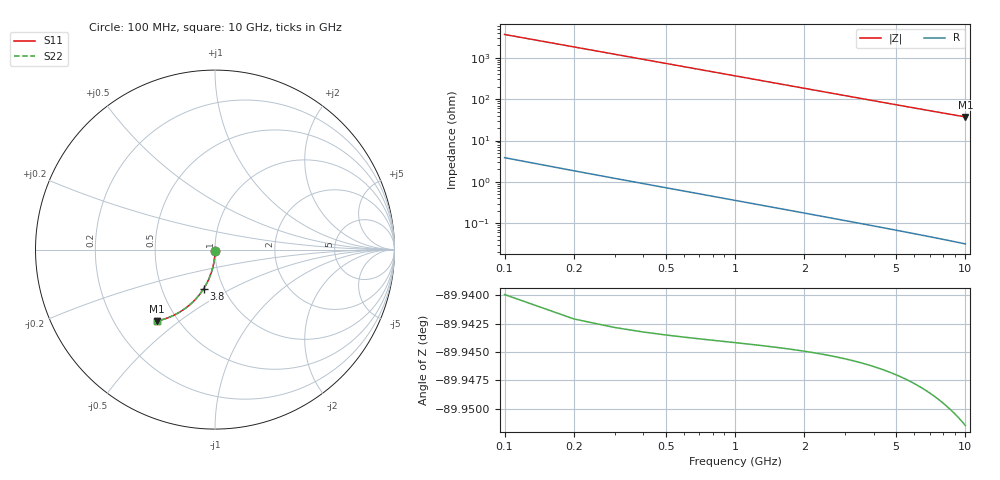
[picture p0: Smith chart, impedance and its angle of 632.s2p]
# Hz S RI R 50.00
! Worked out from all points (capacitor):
!   100 points, 100 MHz to 10 GHz, reference 50 ohm
!   read as one part in shunt: C = 433 fF near 100 MHz
!   lowest |Z| = 37.3 ohm at 10 GHz (marker M1)
!   S11 on the Smith chart (normalised r, x): 100 MHz: 1.00, -0.01; 3.8 GHz: 0.81, -0.37; 10 GHz: 0.38, -0.42
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1e8  0.000129 -0.00611  0.9998 -0.00751  0.9998 -0.00751  0.000129 -0.00611
2e8  -1.39e-05 -0.0122  0.9996 -0.015  0.9996 -0.015  -1.39e-05 -0.0122
3e8  -0.000249 -0.0183  0.9994 -0.0225  0.9994 -0.0225  -0.000249 -0.0183
4e8  -0.000576 -0.0244  0.999 -0.03  0.999 -0.03  -0.000576 -0.0244
5e8  -0.000994 -0.0305  0.9986 -0.0375  0.9986 -0.0375  -0.000994 -0.0305
6e8  -0.0015 -0.0366  0.9981 -0.045  0.9981 -0.045  -0.0015 -0.0366
7e8  -0.0021 -0.0427  0.9975 -0.0525  0.9975 -0.0525  -0.0021 -0.0427
8e8  -0.0028 -0.0487  0.9968 -0.0599  0.9968 -0.0599  -0.0028 -0.0487
9e8  -0.00358 -0.0548  0.996 -0.0674  0.996 -0.0674  -0.00358 -0.0548
1.1e9  -0.00541 -0.0668  0.9941 -0.0822  0.9941 -0.0822  -0.00541 -0.0668
1.4e9  -0.00884 -0.0848  0.9906 -0.1044  0.9906 -0.1044  -0.00884 -0.0848
1.8e9  -0.0146 -0.1084  0.9847 -0.1336  0.9847 -0.1336  -0.0146 -0.1084
2.1e9  -0.0199 -0.1258  0.9793 -0.1552  0.9793 -0.1552  -0.0199 -0.1258
2.5e9  -0.028 -0.1485  0.971 -0.1835  0.971 -0.1835  -0.028 -0.1485
2.9e9  -0.0374 -0.1705  0.9613 -0.2112  0.9613 -0.2112  -0.0374 -0.1705
3.4e9  -0.0509 -0.197  0.9476 -0.2448  0.9476 -0.2448  -0.0509 -0.197
3.8e9  -0.0629 -0.2173  0.9352 -0.2707  0.9352 -0.2707  -0.0629 -0.2173
4.4e9  -0.0829 -0.246  0.9148 -0.3079  0.9148 -0.3079  -0.0829 -0.246
5.1e9  -0.1087 -0.2766  0.8883 -0.3486  0.8883 -0.3486  -0.1087 -0.2766
6.7e9  -0.1752 -0.3342  0.8198 -0.4293  0.8198 -0.4293  -0.1752 -0.3342
8.4e9  -0.2524 -0.376  0.7399 -0.4961  0.7399 -0.4961  -0.2524 -0.376
1e10  -0.3259 -0.3981  0.6633 -0.5422  0.6633 -0.5422  -0.3259 -0.3981
